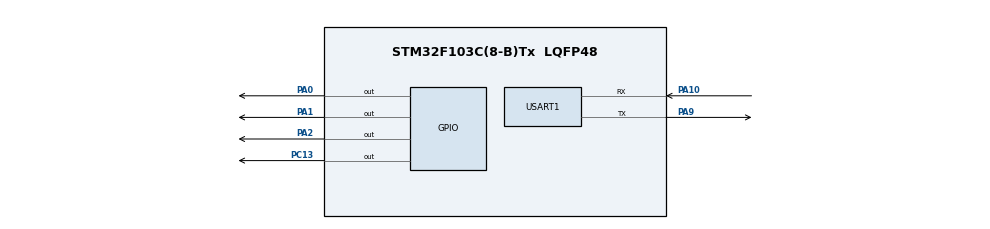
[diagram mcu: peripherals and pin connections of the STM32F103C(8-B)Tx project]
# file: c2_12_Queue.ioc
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Mcu.Family=STM32F1
Mcu.Name=STM32F103C(8-B)Tx
Mcu.Package=LQFP48
NVIC.PriorityGroup=NVIC_PRIORITYGROUP_4
NVIC.TIM4_IRQn=true\:15\:0\:false\:false\:true\:false\:true\:true
NVIC.TimeBase=TIM4_IRQn
NVIC.TimeBaseIP=TIM4
NVIC.USART1_IRQn=true\:6\:0\:true\:false\:true\:true\:true\:true
PA0-WKUP.Signal=GPIO_Output
PA1.Signal=GPIO_Output
PA10.Mode=Asynchronous
PA10.Signal=USART1_RX
PA2.Signal=GPIO_Output
PA9.Mode=Asynchronous
PA9.Signal=USART1_TX
PC13-TAMPER-RTC.Signal=GPIO_Output
ProjectManager.HeapSize=0x200
ProjectManager.StackSize=0x400
ProjectManager.TargetToolchain=STM32CubeIDE
RCC.APB1Freq_Value=8000000
RCC.APB2Freq_Value=8000000
USART1.VirtualMode=VM_ASYNC
VP_SYS_VS_ND.Mode=No_Debug
VP_SYS_VS_tim4.Mode=TIM4
board=custom

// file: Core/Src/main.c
/* USER CODE BEGIN Header */
/**
  ******************************************************************************
  * @file           : main.c
  * @brief          : Main program body
  ******************************************************************************
  * @attention
  *
  * Copyright (c) 2025 STMicroelectronics.
  * All rights reserved.
  *
  * This software is licensed under terms that can be found in the LICENSE file
  * in the root directory of this software component.
  * If no LICENSE file comes with this software, it is provided AS-IS.
  *
  ******************************************************************************
  */
/* USER CODE END Header */
#include "main.h"

/* USER CODE BEGIN Includes */
#include "FreeRTOS.h"
#include "task.h"
#include "queue.h"
/* USER CODE END Includes */

UART_HandleTypeDef huart1;

/* USER CODE BEGIN PV */
TaskHandle_t UartSend_handle,Print_handle;
QueueHandle_t QueueTx_handle ;

char str_data[] ="Hi\n";
char rec_data[20] ;
/* USER CODE END PV */

void SystemClock_Config(void);
static void MX_GPIO_Init(void);
static void MX_USART1_UART_Init(void);
/* USER CODE BEGIN PFP */
void UartSend_handler(void *str);
void Print_handler(void *pvparameter);
/* USER CODE END PFP */

int main(void)
{

  /* USER CODE BEGIN 1 */

	BaseType_t status;

  /* USER CODE END 1 */

  /* MCU Configuration--------------------------------------------------------*/

  /* Reset of all peripherals, Initializes the Flash interface and the Systick. */
  HAL_Init();

  /* Configure the system clock */
  SystemClock_Config();

  /* Initialize all configured peripherals */
  MX_GPIO_Init();
  MX_USART1_UART_Init();
  /* USER CODE BEGIN 2 */
  status =xTaskCreate(UartSend_handler, "UartSend", 200, str_data,2, &UartSend_handle);
  configASSERT(status == pdPASS );
  status =xTaskCreate(Print_handler, "Print", 200, NULL,2, &Print_handle);
  configASSERT(status == pdPASS );

  QueueTx_handle = xQueueCreate(50,sizeof(char));
  configASSERT(QueueTx_handle != NULL );
  vTaskStartScheduler();
  //HAL_UART_Receive_IT(&huart1, &rec_data, 1);

  /* USER CODE END 2 */

  /* Infinite loop */
  while (1)
  {

  }
}

void SystemClock_Config(void)
{
  RCC_OscInitTypeDef RCC_OscInitStruct = {0};
  RCC_ClkInitTypeDef RCC_ClkInitStruct = {0};

  /** Initializes the RCC Oscillators according to the specified parameters
  * in the RCC_OscInitTypeDef structure.
  */
  RCC_OscInitStruct.OscillatorType = RCC_OSCILLATORTYPE_HSI;
  RCC_OscInitStruct.HSIState = RCC_HSI_ON;
  RCC_OscInitStruct.HSICalibrationValue = RCC_HSICALIBRATION_DEFAULT;
  RCC_OscInitStruct.PLL.PLLState = RCC_PLL_NONE;
  if (HAL_RCC_OscConfig(&RCC_OscInitStruct) != HAL_OK)
  {
    Error_Handler();
  }

  /** Initializes the CPU, AHB and APB buses clocks
  */
  RCC_ClkInitStruct.ClockType = RCC_CLOCKTYPE_HCLK|RCC_CLOCKTYPE_SYSCLK
                              |RCC_CLOCKTYPE_PCLK1|RCC_CLOCKTYPE_PCLK2;
  RCC_ClkInitStruct.SYSCLKSource = RCC_SYSCLKSOURCE_HSI;
  RCC_ClkInitStruct.AHBCLKDivider = RCC_SYSCLK_DIV1;
  RCC_ClkInitStruct.APB1CLKDivider = RCC_HCLK_DIV1;
  RCC_ClkInitStruct.APB2CLKDivider = RCC_HCLK_DIV1;

  if (HAL_RCC_ClockConfig(&RCC_ClkInitStruct, FLASH_LATENCY_0) != HAL_OK)
  {
    Error_Handler();
  }
}

static void MX_USART1_UART_Init(void)
{

  huart1.Instance = USART1;
  huart1.Init.BaudRate = 115200;
  huart1.Init.WordLength = UART_WORDLENGTH_8B;
  huart1.Init.StopBits = UART_STOPBITS_1;
  huart1.Init.Parity = UART_PARITY_NONE;
  huart1.Init.Mode = UART_MODE_TX_RX;
  huart1.Init.HwFlowCtl = UART_HWCONTROL_NONE;
  huart1.Init.OverSampling = UART_OVERSAMPLING_16;
  if (HAL_UART_Init(&huart1) != HAL_OK)
  {
    Error_Handler();
  }

}

static void MX_GPIO_Init(void)
{
  GPIO_InitTypeDef GPIO_InitStruct = {0};

  /* GPIO Ports Clock Enable */
  __HAL_RCC_GPIOC_CLK_ENABLE();
  __HAL_RCC_GPIOA_CLK_ENABLE();

  /*Configure GPIO pin Output Level */
  HAL_GPIO_WritePin(GPIOC, GPIO_PIN_13, GPIO_PIN_RESET);

  /*Configure GPIO pin Output Level */
  HAL_GPIO_WritePin(GPIOA, GPIO_PIN_0|GPIO_PIN_1|GPIO_PIN_2, GPIO_PIN_RESET);

  /*Configure GPIO pin : PC13 */
  GPIO_InitStruct.Pin = GPIO_PIN_13;
  GPIO_InitStruct.Mode = GPIO_MODE_OUTPUT_PP;
  GPIO_InitStruct.Pull = GPIO_NOPULL;
  GPIO_InitStruct.Speed = GPIO_SPEED_FREQ_LOW;
  HAL_GPIO_Init(GPIOC, &GPIO_InitStruct);

  /*Configure GPIO pins : PA0 PA1 PA2 */
  GPIO_InitStruct.Pin = GPIO_PIN_0|GPIO_PIN_1|GPIO_PIN_2;
  GPIO_InitStruct.Mode = GPIO_MODE_OUTPUT_PP;
  GPIO_InitStruct.Pull = GPIO_NOPULL;
  GPIO_InitStruct.Speed = GPIO_SPEED_FREQ_LOW;
  HAL_GPIO_Init(GPIOA, &GPIO_InitStruct);

}

/* USER CODE BEGIN 4 */
void UartSend_handler(void *pvparamter){
char *str = (char*)pvparamter;

	while(1){
		while(*str != '\0'){
			xQueueSendToBack(QueueTx_handle,str,0);
			str++;
		}
		char nullChar = '\0';
		xQueueSendToBack(QueueTx_handle,(void*)&nullChar,0);
		str = (char*)pvparamter;

		xTaskNotify(Print_handle,0,eNoAction);

		vTaskDelay(pdMS_TO_TICKS(1000));
	}
}

void Print_handler(void *pvparameter){
	char send_data = '0';

	while(1){
		xTaskNotifyWait(0x0,0x0,NULL,portMAX_DELAY);
	do{
			xQueueReceive(QueueTx_handle, &send_data, 0);
			HAL_UART_Transmit(&huart1, (uint8_t*)&send_data,sizeof(send_data) , 1000);
		}while(send_data !='\0');
	send_data = '0';
	}
}
/* USER CODE END 4 */

void HAL_TIM_PeriodElapsedCallback(TIM_HandleTypeDef *htim)
{
  if (htim->Instance == TIM4)
  {
    HAL_IncTick();
  }
}

void Error_Handler(void)
{
  __disable_irq();
  while (1)
  {
  }
}
